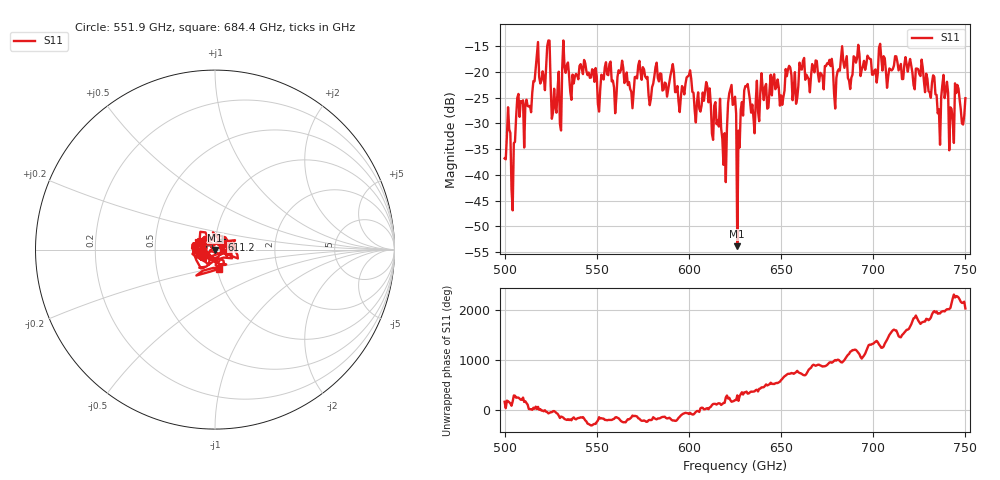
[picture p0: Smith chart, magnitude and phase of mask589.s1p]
!Created with skrf (http://scikit-rf.org).
# GHz S MA R 50.0
!freq magS11 angS11
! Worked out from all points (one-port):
!   401 points, 500 GHz to 750 GHz, reference 50 ohm
!   lowest |S11| = -53.8 dB at 626.2 GHz (marker M1), VSWR 1.00, Z = 50.1 - j0.183 ohm
!   |S11| at or under -10 dB: start of sweep to end of sweep
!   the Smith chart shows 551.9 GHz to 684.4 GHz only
!   S11 on the Smith chart (normalised r, x): 551.9 GHz: 0.88, -0.03; 611.2 GHz: 1.08, +0.12; 684.4 GHz: 1.03, -0.22
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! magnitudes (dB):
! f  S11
! 500 GHz  -36.8
! 505 GHz  -33.8
! 507.5 GHz  -24.3
! 511.9 GHz  -25.4
! 516.9 GHz  -19.3
! 523.8 GHz  -13.9
! 526.9 GHz  -23.3
! 531.2 GHz  -19.3
! 533.1 GHz  -20.2
! 551.9 GHz  -23.4
! 562.5 GHz  -20.2
! 593.8 GHz  -22.7
! 611.2 GHz  -23.2
! 619.4 GHz  -31.9
! 623.8 GHz  -26.4
! 625 GHz  -24.8
! 626.2 GHz  -53.8
! 631.2 GHz  -22.8
! 635 GHz  -28.8
! 656.2 GHz  -25.5
! 684.4 GHz  -19.2
! 687.5 GHz  -23.3
! 718.8 GHz  -20.0
! 735 GHz  -28.0
! 739.4 GHz  -23.7
! 742.5 GHz  -27.2
! 745.6 GHz  -22.5
! 750 GHz  -25.1
